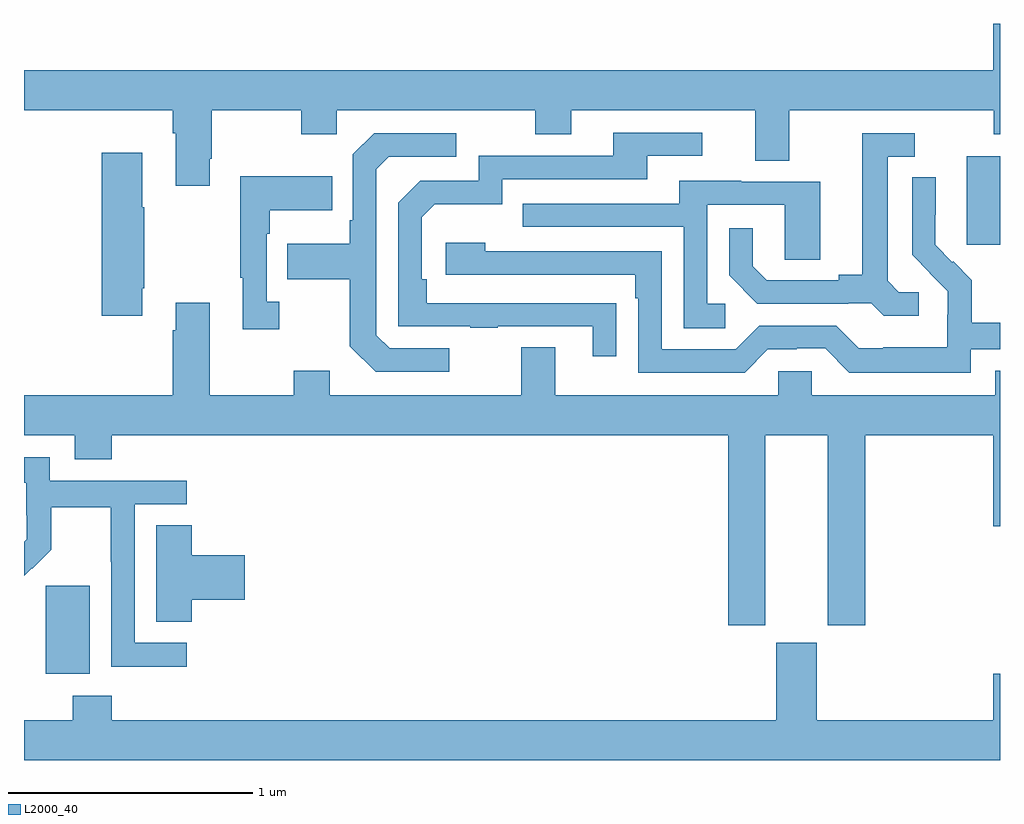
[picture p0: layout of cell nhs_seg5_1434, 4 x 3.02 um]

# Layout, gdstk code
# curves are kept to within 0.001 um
import gdstk
lib = gdstk.Library(unit=1e-6, precision=1e-09)
def R(c, l, rs):  # rectangles x0, y0, x1, y1
    for r in rs: c.add(gdstk.rectangle(r[:2], r[2:], *l))
def P(c, l, *ps):  # polygons
    for p in ps: c.add(gdstk.Polygon(p, *l))
L2000_40 = (2000, 40)

nhs_seg5_1434 = lib.new_cell('nhs_seg5_1434')
R(nhs_seg5_1434, L2000_40, [(197.09,883.754,197.269,884.115), (200.864,885.513,201,885.874)])
P(nhs_seg5_1434, L2000_40, [(197,886.064),(197.609,886.064),(197.609,885.968),(197.621,885.968),(197.621,885.753),(197.761,885.753),(197.761,885.865),(197.769,885.865),(197.769,886.064),(198.136,886.064),(198.136,885.965),(198.282,885.965),(198.282,886.064),(199.096,886.064),(199.096,885.965),(199.243,885.965),(199.243,886.064),(199.997,886.064),(199.997,885.856),(200.137,885.856),(200.137,886.064),(200.974,886.064),(200.974,885.965),(201,885.965),(201,886.417),(200.972,886.417),(200.972,886.228),(197,886.228)],
  [(199.427,885.272),(198.65,885.273),(198.65,885.37),(198.63,885.37),(198.63,885.624),(198.683,885.677),(198.96,885.677),(198.96,885.78),(199.555,885.78),(199.555,885.876),(199.78,885.876),(199.78,885.972),(199.415,885.972),(199.415,885.876),(198.864,885.876),(198.864,885.774),(198.624,885.774),(198.534,885.684),(198.534,885.177),(198.829,885.177),(198.829,885.172),(198.941,885.172),(198.941,885.177),(199.331,885.177),(199.331,885.054),(199.427,885.054)],
  [(200.668,885.318),(200.586,885.318),(200.539,885.365),(200.539,885.873),(200.65,885.873),(200.65,885.969),(200.435,885.969),(200.435,885.389),(200.339,885.389),(200.339,885.366),(200.044,885.366),(199.987,885.423),(199.987,885.58),(199.89,885.58),(199.89,885.386),(200.006,885.27),(200.378,885.27),(200.378,885.273),(200.472,885.273),(200.524,885.221),(200.668,885.221)],
  [(198.742,885.087),(198.498,885.087),(198.444,885.141),(198.444,885.822),(198.495,885.873),(198.772,885.873),(198.772,885.969),(198.435,885.969),(198.348,885.882),(198.348,885.613),(198.336,885.613),(198.336,885.517),(198.079,885.517),(198.079,885.37),(198.336,885.37),(198.336,885.097),(198.441,884.991),(198.742,884.991)],
  [(197.485,885.334),(197.493,885.334),(197.493,885.665),(197.485,885.665),(197.485,885.889),(197.318,885.889),(197.318,885.222),(197.485,885.222)],
  [(198.046,885.278),(197.994,885.278),(197.994,885.557),(198.007,885.557),(198.007,885.653),(198.263,885.653),(198.263,885.793),(197.886,885.793),(197.886,885.377),(197.897,885.377),(197.897,885.165),(198.046,885.165)],
  [(200.88,885.084),(201,885.084),(201,885.193),(200.885,885.193),(200.885,885.367),(200.808,885.444),(200.805,885.441),(200.735,885.512),(200.736,885.788),(200.64,885.788),(200.64,885.47),(200.786,885.322),(200.786,885.225),(200.784,885.225),(200.784,885.091),(200.521,885.091),(200.521,885.087),(200.421,885.087),(200.328,885.18),(200.013,885.18),(199.917,885.084),(199.614,885.084),(199.614,885.486),(198.89,885.486),(198.89,885.52),(198.729,885.52),(198.729,885.39),(199.505,885.39),(199.505,885.293),(199.518,885.293),(199.518,884.988),(199.953,884.988),(200.049,885.084),(200.168,885.084),(200.168,885.087),(200.283,885.087),(200.383,884.987),(200.88,884.987)],
  [(199.873,885.27),(199.8,885.27),(199.8,885.675),(200.118,885.675),(200.118,885.451),(200.263,885.451),(200.263,885.771),(199.939,885.771),(199.939,885.775),(199.685,885.775),(199.685,885.681),(199.045,885.681),(199.045,885.585),(199.704,885.585),(199.704,885.169),(199.873,885.169)],
  [(200.038,884.732),(200.294,884.732),(200.294,883.953),(200.447,883.953),(200.447,884.732),(200.972,884.732),(200.972,884.358),(201,884.358),(201,884.995),(200.981,884.995),(200.981,884.896),(200.229,884.896),(200.229,884.994),(200.091,884.994),(200.091,884.896),(199.177,884.896),(199.177,885.091),(199.037,885.091),(199.037,884.896),(198.253,884.896),(198.253,884.995),(198.106,884.995),(198.106,884.896),(197.761,884.896),(197.761,885.274),(197.621,885.274),(197.621,885.161),(197.609,885.161),(197.609,884.896),(197,884.896),(197,884.732),(197.207,884.732),(197.207,884.633),(197.36,884.633),(197.36,884.732),(199.886,884.732),(199.886,883.953),(200.038,883.953)],
  [(197.668,883.881),(197.454,883.881),(197.454,884.448),(197.668,884.448),(197.668,884.544),(197.106,884.544),(197.106,884.641),(197,884.641),(197,884.537),(197.01,884.537),(197.01,884.403),(197.012,884.403),(197.012,884.306),(197,884.294),(197,884.156),(197.031,884.187),(197.034,884.184),(197.111,884.261),(197.111,884.436),(197.356,884.436),(197.356,884.212),(197.358,884.212),(197.358,883.783),(197.668,883.783)],
  [(197.687,884.057),(197.905,884.057),(197.905,884.24),(197.687,884.24),(197.687,884.363),(197.543,884.363),(197.543,883.966),(197.687,883.966)],
  [(201,883.753),(200.972,883.753),(200.972,883.564),(200.248,883.564),(200.248,883.881),(200.084,883.881),(200.084,883.564),(197.36,883.564),(197.36,883.663),(197.2,883.663),(197.2,883.564),(197,883.564),(197,883.4),(201,883.4)])

lib.write_gds('nhs_seg5_1434.gds')
